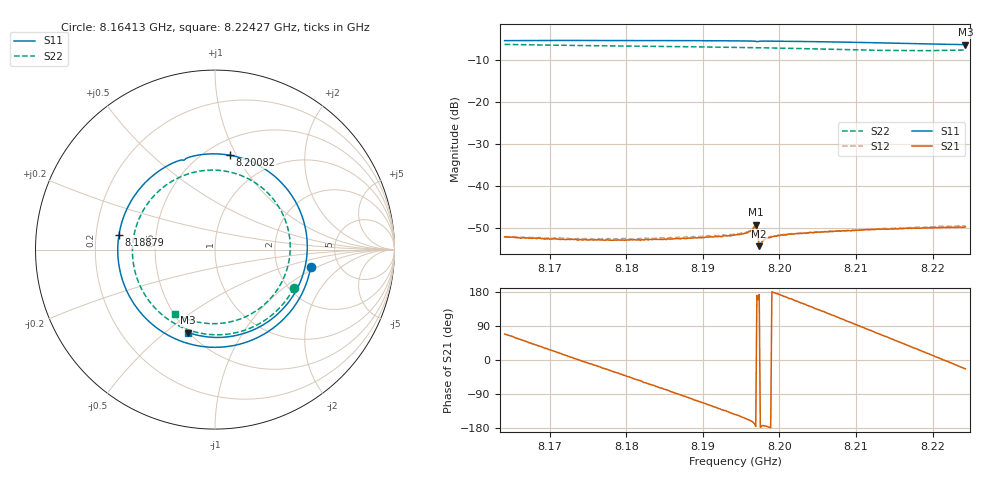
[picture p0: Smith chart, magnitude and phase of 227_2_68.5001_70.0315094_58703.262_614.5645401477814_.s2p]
#  HZ  S  RI  R  50.00
! Rohde & Schwarz Vector Network Analyzer
! Rohde-Schwarz,ZNB20-2Port,1311601062101988,3.16
! Created: UTC 3/20/2024, 4:58:47 PM
! freq[Hz]  re:S11  im:S11  re:S21  im:S21  re:S12  im:S12  re:S22  im:S22
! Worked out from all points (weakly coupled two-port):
!   401 points, 8.16413 GHz to 8.22427 GHz, reference 50 ohm
!   highest |S21| = -49.32 dB at 8.19691 GHz (marker M1); lowest = -54.4 dB at 8.19736 GHz (marker M2)
!   lowest |S11| = -6.3 dB at 8.22427 GHz (marker M3), VSWR 2.89, Z = 24.9 - j30.1 ohm
!   |S11| at or under -10 dB: nowhere
!   |S22| runs from -7.7 to -6.2 dB; largest |S21 - S12| = 0.00021
!   S11 on the Smith chart (normalised r, x): 8.16413 GHz: 3.11, -0.85; 8.18879 GHz: 0.30, +0.07; 8.20082 GHz: 0.64, +0.94; 8.22427 GHz: 0.50, -0.60
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8.164126e9  0.533 -0.097  0.000905 0.00228  0.000857 0.00231  0.4394 -0.2133
8.169389e9  0.3656 -0.4029  0.00198 0.00118  0.00202 0.00125  0.2222 -0.4257
8.174201e9  0.0735 -0.5395  0.00225 -0.000117  0.00232 -0.00011  -0.0472 -0.471
8.179013e9  -0.2472 -0.4846  0.00185 -0.00128  0.00189 -0.00136  -0.294 -0.3639
8.184275e9  -0.494 -0.2253  0.00068 -0.00218  0.000678 -0.00227  -0.447 -0.1178
8.188786e9  -0.535 0.0824  -0.000594 -0.00231  -0.000656 -0.00239  -0.4388 0.1295
8.191343e9  -0.4782 0.2513  -0.00133 -0.00205  -0.00144 -0.00209  -0.3756 0.2562
8.1942e9  -0.3528 0.4069  -0.00208 -0.00154  -0.00217 -0.00152  -0.262 0.3669
8.196906e9  -0.1836 0.4993  -0.00341 -0.000283  -0.00351 -0.000125  -0.124 0.4291
8.197357e9  -0.1631 0.5065  -0.00188 0.000236  -0.0019 0.000326  -0.0995 0.4345
8.197658e9  -0.1418 0.5155  -0.00206 -0.000198  -0.00212 -0.000145  -0.0827 0.4376
8.19856e9  -0.0778 0.529  -0.00239 -0.000129  -0.00243 -1.17e-05  -0.0318 0.4426
8.200816e9  0.0815 0.5259  -0.00251 0.000598  -0.0025 0.000694  0.0954 0.429
8.204274e9  0.3045 0.4305  -0.00209 0.00178  -0.00204 0.00188  0.2704 0.3377
8.206981e9  0.4345 0.2905  -0.00132 0.00251  -0.00127 0.0026  0.369 0.2142
8.209537e9  0.5031 0.1227  -0.000356 0.00292  -0.00032 0.00294  0.4155 0.0693
8.211943e9  0.5103 -0.0487  0.000607 0.00293  0.000716 0.00296  0.4095 -0.0764
8.214349e9  0.4599 -0.2133  0.00161 0.00258  0.00169 0.00257  0.3532 -0.2144
8.217056e9  0.3408 -0.3667  0.00252 0.00183  0.0026 0.00178  0.2345 -0.3377
8.219612e9  0.1821 -0.4599  0.00305 0.000828  0.00312 0.000755  0.0821 -0.4033
8.221867e9  0.0221 -0.4894  0.00317 -0.000173  0.00325 -0.000351  -0.0672 -0.4087
8.224273e9  -0.1491 -0.4621  0.00297 -0.00128  0.00297 -0.00144  -0.2207 -0.3567
